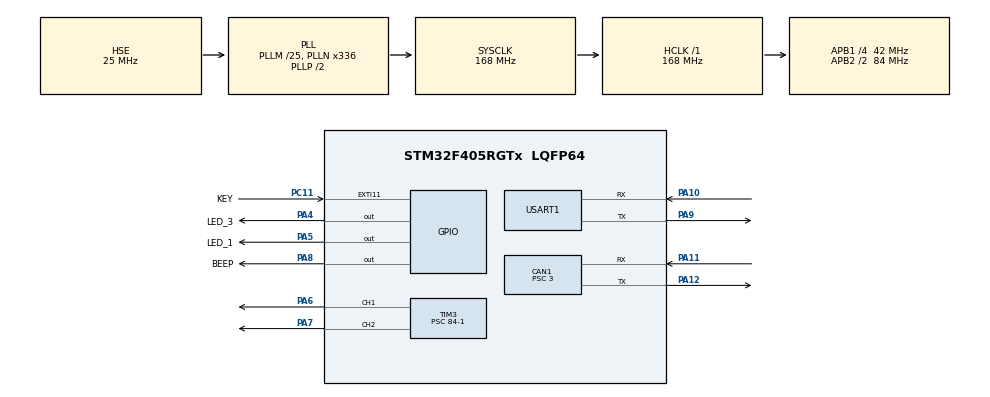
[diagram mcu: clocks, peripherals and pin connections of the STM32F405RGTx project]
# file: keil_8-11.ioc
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CAN1.ABOM=ENABLE
CAN1.AWUM=ENABLE
CAN1.BS1=CAN_BS1_9TQ
CAN1.BS2=CAN_BS2_4TQ
CAN1.CalculateBaudRate=1000000
CAN1.CalculateTimeBit=1000
CAN1.CalculateTimeQuantum=71.42857142857143
CAN1.NART=ENABLE
CAN1.Prescaler=3
Dma.Request0=USART1_RX
Dma.Request1=USART1_TX
Dma.USART1_RX.0.Direction=DMA_PERIPH_TO_MEMORY
Dma.USART1_RX.0.FIFOMode=DMA_FIFOMODE_DISABLE
Dma.USART1_RX.0.Instance=DMA2_Stream2
Dma.USART1_RX.0.MemDataAlignment=DMA_MDATAALIGN_BYTE
Dma.USART1_RX.0.MemInc=DMA_MINC_ENABLE
Dma.USART1_RX.0.Mode=DMA_NORMAL
Dma.USART1_RX.0.PeriphDataAlignment=DMA_PDATAALIGN_BYTE
Dma.USART1_RX.0.PeriphInc=DMA_PINC_DISABLE
Dma.USART1_RX.0.Priority=DMA_PRIORITY_LOW
Dma.USART1_TX.1.Direction=DMA_MEMORY_TO_PERIPH
Dma.USART1_TX.1.FIFOMode=DMA_FIFOMODE_DISABLE
Dma.USART1_TX.1.Instance=DMA2_Stream7
Dma.USART1_TX.1.MemDataAlignment=DMA_MDATAALIGN_BYTE
Dma.USART1_TX.1.MemInc=DMA_MINC_ENABLE
Dma.USART1_TX.1.Mode=DMA_NORMAL
Dma.USART1_TX.1.PeriphDataAlignment=DMA_PDATAALIGN_BYTE
Dma.USART1_TX.1.PeriphInc=DMA_PINC_DISABLE
Dma.USART1_TX.1.Priority=DMA_PRIORITY_LOW
Mcu.Family=STM32F4
Mcu.Name=STM32F405RGTx
Mcu.Package=LQFP64
NVIC.CAN1_RX0_IRQn=true\:5\:0\:true\:false\:true\:true\:true\:true
NVIC.CAN1_RX1_IRQn=true\:5\:0\:true\:false\:true\:true\:true\:true
NVIC.DMA2_Stream2_IRQn=true\:0\:0\:false\:false\:true\:false\:true\:true
NVIC.DMA2_Stream7_IRQn=true\:0\:0\:false\:false\:true\:false\:true\:true
NVIC.EXTI15_10_IRQn=true\:5\:0\:true\:false\:true\:true\:true\:true
NVIC.PriorityGroup=NVIC_PRIORITYGROUP_4
NVIC.TIM1_UP_TIM10_IRQn=true\:15\:0\:false\:false\:true\:false\:true\:true
NVIC.TIM2_IRQn=true\:0\:0\:false\:false\:true\:true\:true\:true
NVIC.TimeBase=TIM1_UP_TIM10_IRQn
NVIC.TimeBaseIP=TIM1
NVIC.USART1_IRQn=true\:5\:0\:true\:false\:true\:true\:true\:true
PA10.GPIO_PuPd=GPIO_PULLUP
PA10.Mode=Asynchronous
PA10.Signal=USART1_RX
PA11.Mode=CAN_Activate
PA11.Signal=CAN1_RX
PA12.Mode=CAN_Activate
PA12.Signal=CAN1_TX
PA13.Mode=Serial_Wire
PA13.Signal=SYS_JTMS-SWDIO
PA14.Mode=Serial_Wire
PA14.Signal=SYS_JTCK-SWCLK
PA4.GPIO_Label=LED_3
PA4.GPIO_PuPd=GPIO_PULLDOWN
PA4.Signal=GPIO_Output
PA5.GPIO_Label=LED_1
PA5.Signal=GPIO_Output
PA6.Signal=S_TIM3_CH1
PA7.Signal=S_TIM3_CH2
PA8.GPIO_Label=BEEP
PA8.Signal=GPIO_Output
PA9.Mode=Asynchronous
PA9.Signal=USART1_TX
PC11.GPIO_Label=KEY
PC11.GPIO_ModeDefaultEXTI=GPIO_MODE_IT_RISING_FALLING
PC11.GPIO_PuPd=GPIO_PULLDOWN
PC11.Signal=GPXTI11
PH0-OSC_IN.Mode=HSE-External-Oscillator
PH0-OSC_IN.Signal=RCC_OSC_IN
PH1-OSC_OUT.Mode=HSE-External-Oscillator
PH1-OSC_OUT.Signal=RCC_OSC_OUT
ProjectManager.HeapSize=0x200
ProjectManager.StackSize=0x400
ProjectManager.TargetToolchain=MDK-ARM V5.32
RCC.48MHZClocksFreq_Value=84000000
RCC.AHBFreq_Value=168000000
RCC.APB1CLKDivider=RCC_HCLK_DIV4
RCC.APB1Freq_Value=42000000
RCC.APB1TimFreq_Value=84000000
RCC.APB2CLKDivider=RCC_HCLK_DIV2
RCC.APB2Freq_Value=84000000
RCC.APB2TimFreq_Value=168000000
RCC.CortexFreq_Value=168000000
RCC.HCLKFreq_Value=168000000
RCC.HSE_VALUE=25000000
RCC.HSI_VALUE=16000000
RCC.LSE_VALUE=32768
RCC.PLLM=25
RCC.PLLN=336
RCC.PLLSourceVirtual=RCC_PLLSOURCE_HSE
RCC.SYSCLKFreq_VALUE=168000000
RCC.SYSCLKSource=RCC_SYSCLKSOURCE_PLLCLK
RCC.VCOOutputFreq_Value=336000000
SH.S_TIM3_CH1.0=TIM3_CH1,PWM Generation1 CH1
SH.S_TIM3_CH2.0=TIM3_CH2,PWM Generation2 CH2
TIM2.Period=1000-1
TIM2.Prescaler=84-1
TIM3.Channel-PWM\ Generation1\ CH1=TIM_CHANNEL_1
TIM3.Channel-PWM\ Generation2\ CH2=TIM_CHANNEL_2
TIM3.Period=1000-1
TIM3.Prescaler=84-1
USART1.VirtualMode=VM_ASYNC
VP_SYS_VS_tim1.Mode=TIM1
VP_TIM2_VS_ClockSourceINT.Mode=Internal
VP_TIM3_VS_ClockSourceINT.Mode=Internal
board=custom

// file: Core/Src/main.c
/* USER CODE BEGIN Header */
/**
  ******************************************************************************
  * @file           : main.c
  * @brief          : Main program body
  ******************************************************************************
  * @attention
  *
  * Copyright (c) 2026 STMicroelectronics.
  * All rights reserved.
  *
  * This software is licensed under terms that can be found in the LICENSE file
  * in the root directory of this software component.
  * If no LICENSE file comes with this software, it is provided AS-IS.
  *
  ******************************************************************************
  */
/* USER CODE END Header */
#include "main.h"
#include "can.h"
#include "dma.h"
#include "tim.h"
#include "usart.h"
#include "gpio.h"

/* USER CODE BEGIN Includes */
#include "TIM_IRQ_Handler.h"
#include "switch_sm.h"
#include "UART_IRQ_Handler.h"
#include "math.h"
#include "EXT_IRQ_Handler.h"
/* USER CODE END Includes */

/* USER CODE BEGIN PTD */
#define CH_COUNT 1

/* USER CODE END PTD */

/* USER CODE BEGIN PD */
#define CAN_RX_DEBUG_ENABLE 0

/* USER CODE END PD */

/* USER CODE BEGIN PV */
volatile uint8_t switch_state =0 ;

double t = 0;
uint8_t volatile dma_state = 0;
uint32_t last_time = 0;

CAN_TxHeaderTypeDef txHeader_Buzzer={0};

uint32_t txMailbox;
uint8_t Buzzer_Data[8] = {0};

/* USER CODE END PV */

void SystemClock_Config(void);

/* USER CODE BEGIN 0 */
#if CAN_RX_DEBUG_ENABLE
typedef struct
{
  uint32_t tick;
  HAL_CAN_StateTypeDef state;
  uint32_t error_code;
  uint32_t ier;
  uint32_t rf0r;
  uint32_t esr;
  uint32_t msr;
  uint32_t btr;
  uint32_t fifo0_level;
  uint32_t rx0_irq_enabled;
  uint32_t rx0_irq_pending;
} CAN_RxDebugTypeDef;

static volatile CAN_RxDebugTypeDef can_rx_debug;

static void CAN_RxDebugCheck(void)
{
  static uint32_t last_check_tick = 0;
  uint32_t current_tick = HAL_GetTick();

  if ((current_tick - last_check_tick) < 50U)
  {
    return;
  }

  last_check_tick = current_tick;
  can_rx_debug.tick = current_tick;
  can_rx_debug.state = HAL_CAN_GetState(&hcan1);
  can_rx_debug.error_code = HAL_CAN_GetError(&hcan1);
  can_rx_debug.ier = CAN1->IER;
  can_rx_debug.rf0r = CAN1->RF0R;
  can_rx_debug.esr = CAN1->ESR;
  can_rx_debug.msr = CAN1->MSR;
  can_rx_debug.btr = CAN1->BTR;
  can_rx_debug.fifo0_level = HAL_CAN_GetRxFifoFillLevel(&hcan1, CAN_RX_FIFO0);
  can_rx_debug.rx0_irq_enabled = NVIC_GetEnableIRQ(CAN1_RX0_IRQn);
  can_rx_debug.rx0_irq_pending = NVIC_GetPendingIRQ(CAN1_RX0_IRQn);
}
#endif

/* USER CODE END 0 */

int main(void)
{

  /* USER CODE BEGIN 1 */
  /*蜂鸣器响完后发送的数据*/
//  txHeader_Buzzer.IDE = CAN_ID_EXT;
//  txHeader_Buzzer.ExtId = 0x02010101;       // 29位扩展ID
//  txHeader_Buzzer.RTR = CAN_RTR_DATA;
//  txHeader_Buzzer.DLC = 2;
//  Buzzer_Data[0]='O';
//  Buzzer_Data[1]='K';
  /* USER CODE END 1 */

  /* MCU Configuration--------------------------------------------------------*/

  /* Reset of all peripherals, Initializes the Flash interface and the Systick. */
  HAL_Init();

  /* Configure the system clock */
  SystemClock_Config();

  /* Initialize all configured peripherals */
  MX_GPIO_Init();
  MX_DMA_Init();
  MX_TIM2_Init();
  MX_TIM3_Init();
  MX_USART1_UART_Init();
  MX_CAN1_Init();
  /* USER CODE BEGIN 2 */
  UART_Start_Receive();
  /* USER CODE END 2 */

  /* Infinite loop */
  while (1)
  {

    /* USER CODE BEGIN 3 */
    if(Beep_Trigger!=0)
    {
      Beep_Alarm(Beep_Trigger);
      HAL_CAN_AddTxMessage(&hcan1,&txHeader_Buzzer,Buzzer_Data,&txMailbox);
      Beep_Trigger = 0;
    }//蜂鸣器按上位机发出的满足条件的0x01的数目发声
			txHeader_Buzzer.IDE = CAN_ID_EXT;
			txHeader_Buzzer.ExtId = 0x02010101;       // 29位扩展ID
			txHeader_Buzzer.RTR = CAN_RTR_DATA;
			txHeader_Buzzer.DLC = 2;
			Buzzer_Data[0]='O';
			Buzzer_Data[1]='K';
			HAL_CAN_AddTxMessage(&hcan1,&txHeader_Buzzer,Buzzer_Data,&txMailbox);

  }
  /* USER CODE END 3 */
}

void SystemClock_Config(void)
{
  RCC_OscInitTypeDef RCC_OscInitStruct = {0};
  RCC_ClkInitTypeDef RCC_ClkInitStruct = {0};

  /** Configure the main internal regulator output voltage
  */
  __HAL_RCC_PWR_CLK_ENABLE();
  __HAL_PWR_VOLTAGESCALING_CONFIG(PWR_REGULATOR_VOLTAGE_SCALE1);

  /** Initializes the RCC Oscillators according to the specified parameters
  * in the RCC_OscInitTypeDef structure.
  */
  RCC_OscInitStruct.OscillatorType = RCC_OSCILLATORTYPE_HSE;
  RCC_OscInitStruct.HSEState = RCC_HSE_ON;
  RCC_OscInitStruct.PLL.PLLState = RCC_PLL_ON;
  RCC_OscInitStruct.PLL.PLLSource = RCC_PLLSOURCE_HSE;
  RCC_OscInitStruct.PLL.PLLM = 25;
  RCC_OscInitStruct.PLL.PLLN = 336;
  RCC_OscInitStruct.PLL.PLLP = RCC_PLLP_DIV2;
  RCC_OscInitStruct.PLL.PLLQ = 4;
  if (HAL_RCC_OscConfig(&RCC_OscInitStruct) != HAL_OK)
  {
    Error_Handler();
  }

  /** Initializes the CPU, AHB and APB buses clocks
  */
  RCC_ClkInitStruct.ClockType = RCC_CLOCKTYPE_HCLK|RCC_CLOCKTYPE_SYSCLK
                              |RCC_CLOCKTYPE_PCLK1|RCC_CLOCKTYPE_PCLK2;
  RCC_ClkInitStruct.SYSCLKSource = RCC_SYSCLKSOURCE_PLLCLK;
  RCC_ClkInitStruct.AHBCLKDivider = RCC_SYSCLK_DIV1;
  RCC_ClkInitStruct.APB1CLKDivider = RCC_HCLK_DIV4;
  RCC_ClkInitStruct.APB2CLKDivider = RCC_HCLK_DIV2;

  if (HAL_RCC_ClockConfig(&RCC_ClkInitStruct, FLASH_LATENCY_5) != HAL_OK)
  {
    Error_Handler();
  }
}

/* USER CODE BEGIN 4 */
void HAL_GPIO_EXTI_Callback(uint16_t GPIO_Pin)
{
//  GPIO_EXTI_Callback(GPIO_Pin,&switch_state);

}
/* USER CODE END 4 */

void HAL_TIM_PeriodElapsedCallback(TIM_HandleTypeDef *htim)
{
  if (htim->Instance == TIM1)
  {
    HAL_IncTick();
  }
  /* USER CODE BEGIN Callback 1 */
  TIM_PeriodElapsedCallback(htim);
  /* USER CODE END Callback 1 */
}

void Error_Handler(void)
{
  __disable_irq();
  while (1)
  {
  }
}
